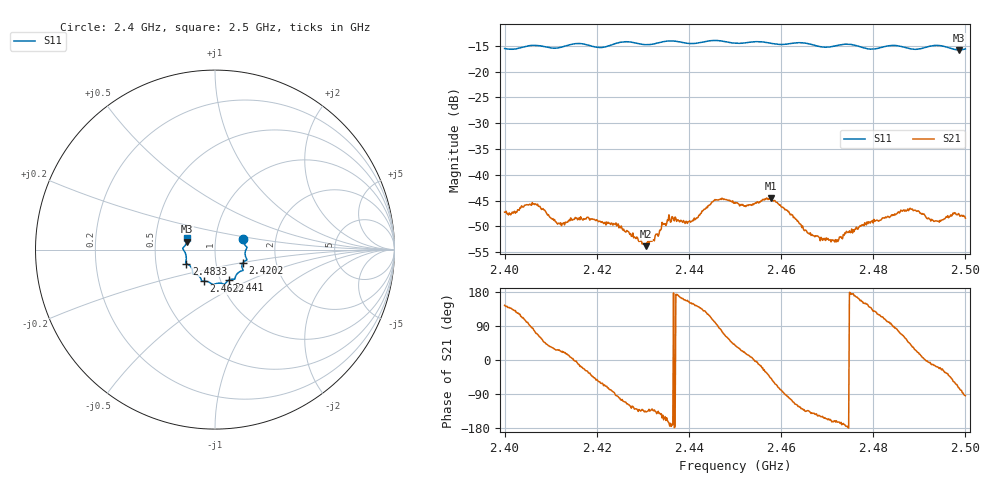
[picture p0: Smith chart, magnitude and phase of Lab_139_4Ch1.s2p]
# Hz S RI R 50
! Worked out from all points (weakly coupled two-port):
!   601 points, 2.4 GHz to 2.5 GHz, reference 50 ohm
!   highest |S21| = -44.51 dB at 2.4578 GHz (marker M1); lowest = -53.9 dB at 2.4307 GHz (marker M2)
!   lowest |S11| = -15.8 dB at 2.4987 GHz (marker M3), VSWR 1.39, Z = 36.4 + j3.34 ohm
!   |S11| at or under -10 dB: start of sweep to end of sweep
!   S12 and S22 are empty: the file has one direction only
!   S11 on the Smith chart (normalised r, x): 2.4 GHz: 1.36, +0.17; 2.4202 GHz: 1.35, -0.20; 2.441 GHz: 1.09, -0.39; 2.4622 GHz: 0.83, -0.30; 2.4833 GHz: 0.72, -0.11; 2.5 GHz: 0.73, +0.09
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2.4e9  0.1564 0.0598  -0.00352 0.00253  0 0  0 0
2.4065e9  0.1795 0.0127  0.00121 0.005  0 0  0 0
2.411833e9  0.1682 -0.0287  0.00302 0.00153  0 0  0 0
2.416667e9  0.1772 -0.0584  0.00357 -0.00121  0 0  0 0
2.420167e9  0.1558 -0.0724  0.00216 -0.00289  0 0  0 0
2.424167e9  0.1534 -0.1082  -0.000228 -0.0034  0 0  0 0
2.430667e9  0.1283 -0.1298  -0.00148 -0.00139  0 0  0 0
2.433333e9  0.1132 -0.1526  -0.0018 -0.00178  0 0  0 0
2.436e9  0.1104 -0.1649  -0.00337 -0.000774  0 0  0 0
2.441e9  0.0766 -0.1709  -0.00304 0.00191  0 0  0 0
2.4455e9  0.053 -0.1933  -0.00108 0.00555  0 0  0 0
2.45e9  0.0262 -0.1869  0.00412 0.00331  0 0  0 0
2.452333e9  0.00447 -0.1903  0.00469 0.00145  0 0  0 0
2.457833e9  -0.0245 -0.1866  0.00397 -0.00443  0 0  0 0
2.462167e9  -0.0631 -0.1765  -0.00102 -0.00401  0 0  0 0
2.466667e9  -0.0766 -0.1664  -0.00201 -0.00172  0 0  0 0
2.472e9  -0.1147 -0.1367  -0.0021 -0.000755  0 0  0 0
2.483333e9  -0.1604 -0.0777  -0.000634 0.00386  0 0  0 0
2.488e9  -0.1598 -0.0475  0.00347 0.00322  0 0  0 0
2.493833e9  -0.1796 0.00595  0.00339 -0.00107  0 0  0 0
2.498667e9  -0.1559 0.0447  0.00112 -0.00395  0 0  0 0
2.5e9  -0.1536 0.0633  -0.000265 -0.00378  0 0  0 0
